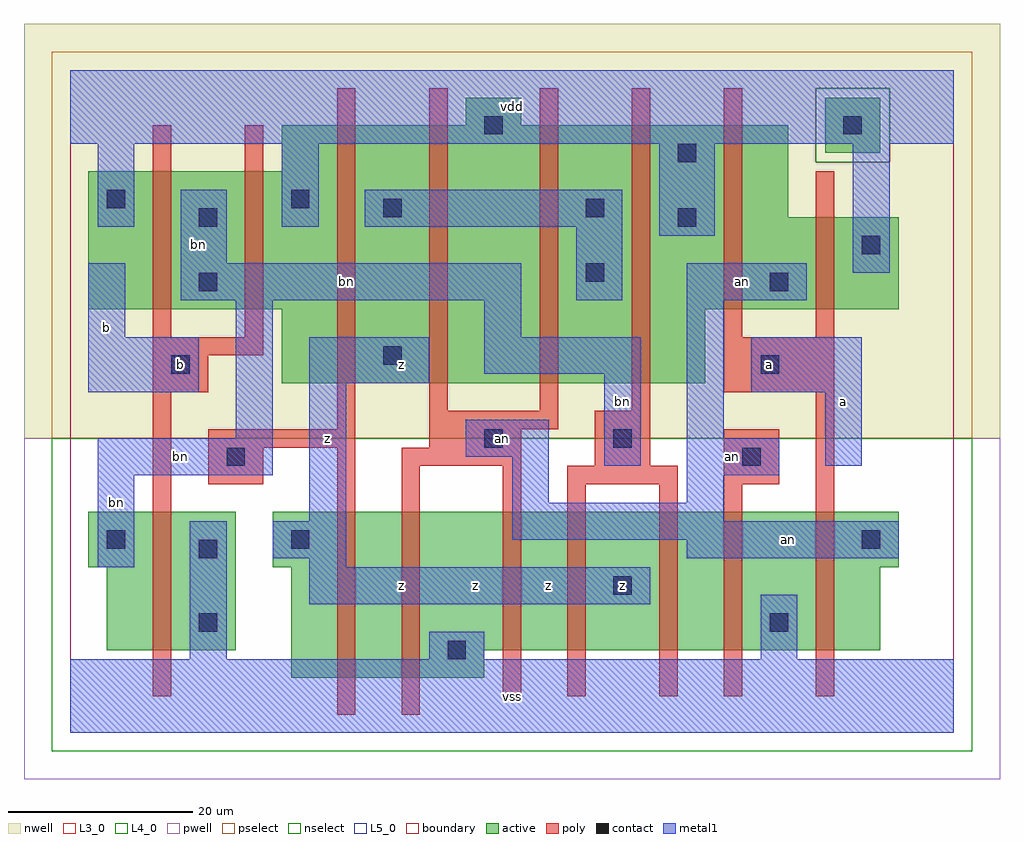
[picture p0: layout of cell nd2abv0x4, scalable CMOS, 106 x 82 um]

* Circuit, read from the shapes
.subckt nd2abv0x4 a an b bn vdd vss z
M1 vss b bn VSUBS nfet w=15u l=2u
M2 n1 bn z VSUBS nfet w=18u l=2u
M3 vss an n1 VSUBS nfet w=18u l=2u
M4 n2 an vss VSUBS nfet w=15u l=2u
M5 z bn n2 VSUBS nfet w=15u l=2u
M6 n3 bn z VSUBS nfet w=15u l=2u
M7 vss an n3 VSUBS nfet w=15u l=2u
M8 an a vss VSUBS nfet w=15u l=2u
M9 bn b vdd vdd pfet w=15u l=2u m=2
M10 z bn vdd vdd pfet w=28u l=2u m=2
M11 vdd an z vdd pfet w=28u l=2u m=2
M12 an a vdd vdd pfet w=20u l=2u
M13 vdd a an vdd pfet w=10u l=2u
.ends

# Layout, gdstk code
import gdstk
lib = gdstk.Library(unit=1e-6, precision=1e-09)
def R(c, l, rs):  # rectangles x0, y0, x1, y1
    for r in rs: c.add(gdstk.rectangle(r[:2], r[2:], *l))
L3_0 = (3, 0)
L4_0 = (4, 0)
L5_0 = (5, 0)
contact = (25, 0)
pwell = (41, 0)
nwell = (42, 0)
active = (43, 0)
pselect = (44, 0)
nselect = (45, 0)
poly = (46, 0)
metal1 = (49, 0)
boundary = (63, 0)

nd2abv0x4 = lib.new_cell('nd2abv0x4')
R(nd2abv0x4, L3_0, [(24,6,45,9), (4,9,18,18), (24,9,88,18), (2,18,18,24), (22,18,90,24)])
R(nd2abv0x4, L4_0, [(23,38,69,46), (2,46,90,56), (2,56,78,61), (23,61,78,66), (43,66,49,69)])
R(nd2abv0x4, L5_0, [(82,63,88,69)])
R(nd2abv0x4, contact, [(41,8,43,10), (14,11,16,13), (76,11,78,13), (59,15,61,17), (14,19,16,21), (4,20,6,22), (24,20,26,22), (86,20,88,22), (17,29,19,31), (73,29,75,31), (45,31,47,33), (59,31,61,33), (11,39,13,41), (75,39,77,41), (34,40,36,42), (14,48,16,50), (76,48,78,50), (56,49,58,51), (86,52,88,54), (14,55,16,57), (66,55,68,57), (34,56,36,58), (56,56,58,58), (4,57,6,59), (24,57,26,59), (66,62,68,64), (45,65,47,67), (84,65,86,67)])
R(nd2abv0x4, pwell, [(-5,-5,101,32)])
R(nd2abv0x4, nwell, [(-5,32,101,77)])
R(nd2abv0x4, active, [(24,6,45,9), (4,9,18,18), (24,9,88,18), (2,18,18,24), (22,18,90,24), (23,38,69,46), (2,46,90,56), (2,56,78,61), (23,61,78,66), (82,63,88,69), (43,66,49,69)])
R(nd2abv0x4, pselect, [(-2,32,98,62), (-2,62,81,70), (89,62,98,70), (-2,70,98,74)])
R(nd2abv0x4, nselect, [(-2,-2,98,32), (81,62,89,70)])
R(nd2abv0x4, poly, [(29,2,31,31), (36,2,38,29), (9,4,11,37), (47,4,49,29), (54,4,56,27), (64,4,66,27), (71,4,73,27), (81,4,83,37), (15,27,21,31), (54,27,66,29), (71,27,77,33), (36,29,49,31), (57,29,63,35), (15,31,31,33), (39,31,49,33), (29,33,31,70), (39,33,53,35), (39,35,41,70), (51,35,53,70), (61,35,63,70), (9,37,15,41), (71,37,83,43), (9,41,21,43), (9,43,11,66), (19,43,21,66), (71,43,73,70), (81,43,83,61)])
R(nd2abv0x4, metal1, [(0,0,96,8), (13,8,17,23), (39,8,45,11), (75,8,79,15), (26,14,63,18), (3,18,7,28), (26,18,30,19), (22,19,30,23), (67,19,90,21), (48,21,90,23), (26,23,30,38), (48,23,71,25), (48,25,52,30), (67,25,71,28), (3,28,22,32), (67,28,77,32), (58,29,62,39), (82,29,86,37), (43,30,52,34), (18,32,22,47), (67,32,71,47), (2,37,14,43), (74,37,86,43), (26,38,39,43), (45,39,62,43), (2,43,6,51), (45,43,49,47), (12,47,49,51), (55,47,60,55), (67,47,80,51), (85,50,89,64), (12,51,17,59), (64,54,70,64), (3,55,7,64), (23,55,27,64), (32,55,60,59), (0,64,96,72)])
R(nd2abv0x4, boundary, [(0,0,96,72)])
nd2abv0x4.add(gdstk.Label('bn', (5,25), layer=49, texttype=0))
nd2abv0x4.add(gdstk.Label('bn', (12,30), layer=49, texttype=0))
nd2abv0x4.add(gdstk.Label('bn', (14,53), layer=49, texttype=0))
nd2abv0x4.add(gdstk.Label('an', (47,32), layer=49, texttype=0))
nd2abv0x4.add(gdstk.Label('bn', (60,36), layer=49, texttype=0))
nd2abv0x4.add(gdstk.Label('bn', (30,49), layer=49, texttype=0))
nd2abv0x4.add(gdstk.Label('an', (78,21), layer=49, texttype=0))
nd2abv0x4.add(gdstk.Label('an', (72,30), layer=49, texttype=0))
nd2abv0x4.add(gdstk.Label('an', (73,49), layer=49, texttype=0))
nd2abv0x4.add(gdstk.Label('b', (12,40), layer=49, texttype=0))
nd2abv0x4.add(gdstk.Label('b', (4,44), layer=49, texttype=0))
nd2abv0x4.add(gdstk.Label('z', (44,16), layer=49, texttype=0))
nd2abv0x4.add(gdstk.Label('z', (36,16), layer=49, texttype=0))
nd2abv0x4.add(gdstk.Label('z', (28,32), layer=49, texttype=0))
nd2abv0x4.add(gdstk.Label('z', (36,40), layer=49, texttype=0))
nd2abv0x4.add(gdstk.Label('vss', (48,4), layer=49, texttype=0))
nd2abv0x4.add(gdstk.Label('z', (60,16), layer=49, texttype=0))
nd2abv0x4.add(gdstk.Label('z', (52,16), layer=49, texttype=0))
nd2abv0x4.add(gdstk.Label('vdd', (48,68), layer=49, texttype=0))
nd2abv0x4.add(gdstk.Label('a', (84,36), layer=49, texttype=0))
nd2abv0x4.add(gdstk.Label('a', (76,40), layer=49, texttype=0))

lib.write_gds('nd2abv0x4.gds')
